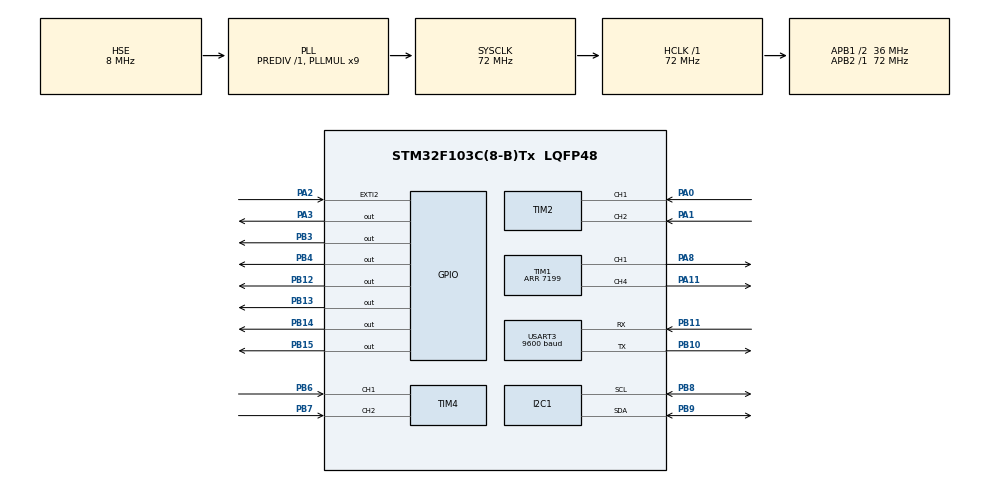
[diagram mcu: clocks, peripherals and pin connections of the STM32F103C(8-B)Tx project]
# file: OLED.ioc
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Mcu.Family=STM32F1
Mcu.Name=STM32F103C(8-B)Tx
Mcu.Package=LQFP48
NVIC.EXTI2_IRQn=true\:0\:0\:false\:false\:true\:true\:true\:true
NVIC.PriorityGroup=NVIC_PRIORITYGROUP_4
NVIC.USART3_IRQn=true\:0\:0\:false\:false\:true\:true\:true\:true
PA0-WKUP.Signal=S_TIM2_CH1_ETR
PA1.Signal=S_TIM2_CH2
PA11.Signal=S_TIM1_CH4
PA13.Mode=Serial_Wire
PA13.Signal=SYS_JTMS-SWDIO
PA14.Mode=Serial_Wire
PA14.Signal=SYS_JTCK-SWCLK
PA2.GPIO_ModeDefaultEXTI=GPIO_MODE_IT_RISING_FALLING
PA2.Signal=GPXTI2
PA3.GPIO_Speed=GPIO_SPEED_FREQ_HIGH
PA3.Signal=GPIO_Output
PA8.Signal=S_TIM1_CH1
PB10.Mode=Asynchronous
PB10.Signal=USART3_TX
PB11.Mode=Asynchronous
PB11.Signal=USART3_RX
PB12.Signal=GPIO_Output
PB13.Signal=GPIO_Output
PB14.Signal=GPIO_Output
PB15.Signal=GPIO_Output
PB3.Signal=GPIO_Output
PB4.Signal=GPIO_Output
PB6.Signal=S_TIM4_CH1
PB7.Signal=S_TIM4_CH2
PB8.Mode=I2C
PB8.Signal=I2C1_SCL
PB9.Mode=I2C
PB9.Signal=I2C1_SDA
PC14-OSC32_IN.Mode=LSE-External-Oscillator
PC14-OSC32_IN.Signal=RCC_OSC32_IN
PC15-OSC32_OUT.Mode=LSE-External-Oscillator
PC15-OSC32_OUT.Signal=RCC_OSC32_OUT
PD0-OSC_IN.Mode=HSE-External-Oscillator
PD0-OSC_IN.Signal=RCC_OSC_IN
PD1-OSC_OUT.Mode=HSE-External-Oscillator
PD1-OSC_OUT.Signal=RCC_OSC_OUT
ProjectManager.HeapSize=0x200
ProjectManager.StackSize=0x400
ProjectManager.TargetToolchain=MDK-ARM V5.32
RCC.AHBFreq_Value=72000000
RCC.APB1CLKDivider=RCC_HCLK_DIV2
RCC.APB1Freq_Value=36000000
RCC.APB1TimFreq_Value=72000000
RCC.APB2Freq_Value=72000000
RCC.APB2TimFreq_Value=72000000
RCC.HCLKFreq_Value=72000000
RCC.PLLMUL=RCC_PLL_MUL9
RCC.PLLSourceVirtual=RCC_PLLSOURCE_HSE
RCC.SYSCLKFreq_VALUE=72000000
RCC.SYSCLKSource=RCC_SYSCLKSOURCE_PLLCLK
RCC.USBFreq_Value=72000000
SH.S_TIM1_CH1.0=TIM1_CH1,PWM Generation1 CH1
SH.S_TIM1_CH4.0=TIM1_CH4,PWM Generation4 CH4
SH.S_TIM2_CH1_ETR.0=TIM2_CH1,Encoder_Interface
SH.S_TIM2_CH2.0=TIM2_CH2,Encoder_Interface
SH.S_TIM4_CH1.0=TIM4_CH1,Encoder_Interface
SH.S_TIM4_CH2.0=TIM4_CH2,Encoder_Interface
TIM1.Channel-PWM\ Generation1\ CH1=TIM_CHANNEL_1
TIM1.Channel-PWM\ Generation4\ CH4=TIM_CHANNEL_4
TIM1.Period=7199
TIM1.Pulse-PWM\ Generation1\ CH1=7200
TIM2.EncoderMode=TIM_ENCODERMODE_TI12
TIM3.Prescaler=71
USART3.BaudRate=9600
USART3.VirtualMode=VM_ASYNC
VP_TIM3_VS_ClockSourceINT.Mode=Internal
board=custom

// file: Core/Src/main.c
/* USER CODE BEGIN Header */
/**
  ******************************************************************************
  * @file           : main.c
  * @brief          : Main program body
  ******************************************************************************
  * @attention
  *
  * Copyright (c) 2025 STMicroelectronics.
  * All rights reserved.
  *
  * This software is licensed under terms that can be found in the LICENSE file
  * in the root directory of this software component.
  * If no LICENSE file comes with this software, it is provided AS-IS.
  *
  ******************************************************************************
  */
/* USER CODE END Header */
#include "main.h"
#include "i2c.h"
#include "tim.h"
#include "usart.h"
#include "gpio.h"

/* USER CODE BEGIN Includes */
#include "oled.h"
#include "IIC.h"
#include "inv_mpu.h"
#include "inv_mpu_dmp_motion_driver.h"
#include "mpu6050.h"
#include <stdio.h>
#include "sr04.h"
#include "motor.h"
#include "Encoder.h"
/* USER CODE END Includes */

/* USER CODE BEGIN PV */
float pitch,roll,yaw;
uint8_t display_buf[20];
uint32_t sys_tick;
extern float distance;
int Encoder_Left,Encoder_Right;
extern uint8_t rx_buf[2];

/* USER CODE END PV */

void SystemClock_Config(void);

int main(void)
{

  /* MCU Configuration--------------------------------------------------------*/

  /* Reset of all peripherals, Initializes the Flash interface and the Systick. */
  HAL_Init();

  /* Configure the system clock */
  SystemClock_Config();

  /* USER CODE BEGIN SysInit */
	void Read();

  /* USER CODE END SysInit */

  /* Initialize all configured peripherals */
  MX_GPIO_Init();
  MX_I2C1_Init();
  MX_TIM3_Init();
  MX_TIM1_Init();
  MX_TIM2_Init();
  MX_TIM4_Init();
  MX_USART3_UART_Init();
  /* USER CODE BEGIN 2 */
	OLED_Init();
	OLED_Clear();
	MPU_Init();
	mpu_dmp_init();
	OLED_ShowString(0,00,"Init Sucess",16);
	HAL_TIM_PWM_Start(&htim1,TIM_CHANNEL_1);
	HAL_TIM_PWM_Start(&htim1,TIM_CHANNEL_4);
	HAL_TIM_Encoder_Start(&htim2,TIM_CHANNEL_ALL);
	HAL_TIM_Encoder_Start(&htim4,TIM_CHANNEL_ALL);
	HAL_UART_Receive_IT(&huart3,rx_buf,1);
	Load(-1000,1000);
	HAL_UART_Transmit(&huart3,"Hello World!\r\n",13,1000);
  /* USER CODE END 2 */

  /* Infinite loop */
  /* USER CODE BEGIN WHILE */
  while (1)
  {
		Read();
//		sprintf((char *)display_buf,"Encoder_L:%d   ",Encoder_Left);
//		OLED_ShowString(0,4,display_buf,16);
//		sprintf((char *)display_buf,"Encoder_L:%d   ",Encoder_Right);
//		OLED_ShowString(0,6,display_buf,16);

		mpu_dmp_get_data(&pitch,&roll,&yaw);
		sprintf((char *)display_buf,"roll:%.2f   ",roll);
		OLED_ShowString(0,2,display_buf,16);
		HAL_UART_Transmit(&huart3,display_buf,sizeof(display_buf),1000);
//		HAL_Delay(100);
//		mpu_dmp_get_data(&pitch,&roll,&yaw);
//		sprintf((char *)display_buf,"roll:%.2f   ",roll);
//		OLED_ShowString(0,2,display_buf,16);
//		GET_Distance();
//		sprintf((char *)display_buf,"distance:%.2f   ",distance);
//		OLED_ShowString(0,4,display_buf,12);

    /* USER CODE END WHILE */

  }
}

void SystemClock_Config(void)
{
  RCC_OscInitTypeDef RCC_OscInitStruct = {0};
  RCC_ClkInitTypeDef RCC_ClkInitStruct = {0};

  /** Initializes the RCC Oscillators according to the specified parameters
  * in the RCC_OscInitTypeDef structure.
  */
  RCC_OscInitStruct.OscillatorType = RCC_OSCILLATORTYPE_HSE;
  RCC_OscInitStruct.HSEState = RCC_HSE_ON;
  RCC_OscInitStruct.HSEPredivValue = RCC_HSE_PREDIV_DIV1;
  RCC_OscInitStruct.HSIState = RCC_HSI_ON;
  RCC_OscInitStruct.PLL.PLLState = RCC_PLL_ON;
  RCC_OscInitStruct.PLL.PLLSource = RCC_PLLSOURCE_HSE;
  RCC_OscInitStruct.PLL.PLLMUL = RCC_PLL_MUL9;
  if (HAL_RCC_OscConfig(&RCC_OscInitStruct) != HAL_OK)
  {
    Error_Handler();
  }

  /** Initializes the CPU, AHB and APB buses clocks
  */
  RCC_ClkInitStruct.ClockType = RCC_CLOCKTYPE_HCLK|RCC_CLOCKTYPE_SYSCLK
                              |RCC_CLOCKTYPE_PCLK1|RCC_CLOCKTYPE_PCLK2;
  RCC_ClkInitStruct.SYSCLKSource = RCC_SYSCLKSOURCE_PLLCLK;
  RCC_ClkInitStruct.AHBCLKDivider = RCC_SYSCLK_DIV1;
  RCC_ClkInitStruct.APB1CLKDivider = RCC_HCLK_DIV2;
  RCC_ClkInitStruct.APB2CLKDivider = RCC_HCLK_DIV1;

  if (HAL_RCC_ClockConfig(&RCC_ClkInitStruct, FLASH_LATENCY_2) != HAL_OK)
  {
    Error_Handler();
  }
}

/* USER CODE BEGIN 4 */
void Read()
{
	if(uwTick-sys_tick<10)return;
	sys_tick=uwTick;
	Encoder_Left=Read_Speed(&htim2);
	Encoder_Right=-Read_Speed(&htim4);
}
/* USER CODE END 4 */

void Error_Handler(void)
{
  __disable_irq();
  while (1)
  {
  }
}
